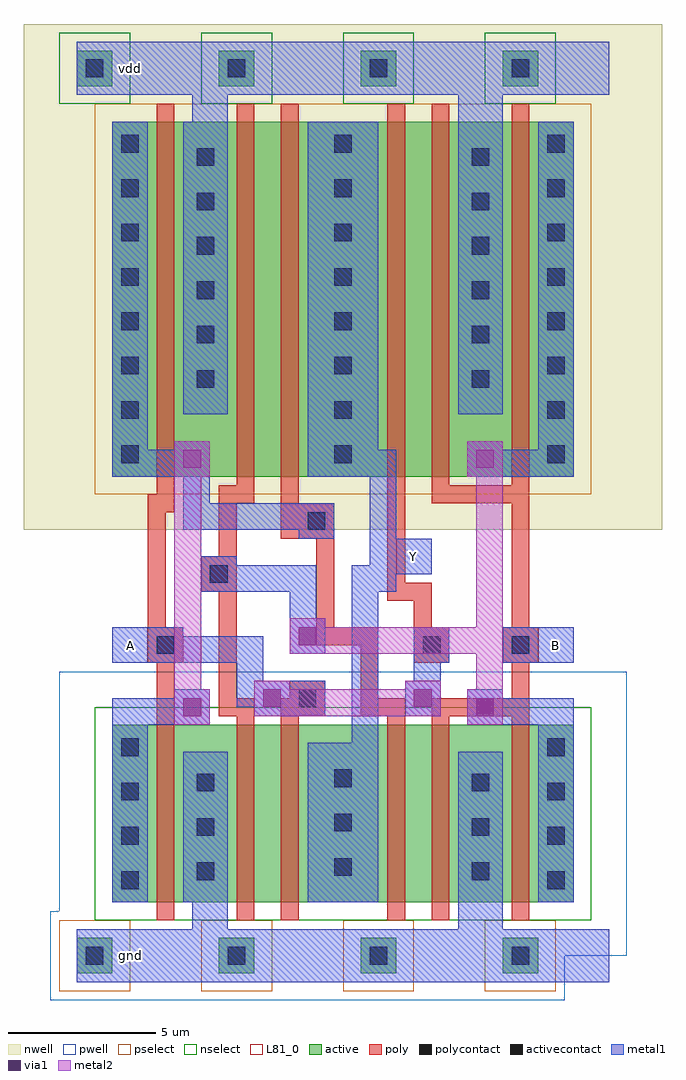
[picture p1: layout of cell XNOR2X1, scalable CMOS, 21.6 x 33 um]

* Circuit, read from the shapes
.subckt XNOR2X1 A B Y gnd vdd
M1 gnd A n1 gnd nfet w=6u l=0.6u
M2 n2 n3 gnd gnd nfet w=6u l=0.6u
M3 Y A n2 gnd nfet w=6u l=0.6u
M4 n4 n1 Y gnd nfet w=6u l=0.6u
M5 gnd B n4 gnd nfet w=6u l=0.6u
M6 n3 B gnd gnd nfet w=6u l=0.6u
M7 vdd A n1 vdd pfet w=12u l=0.6u
M8 n5 n3 vdd vdd pfet w=12u l=0.6u
M9 Y n1 n5 vdd pfet w=12u l=0.6u
M10 n6 A Y vdd pfet w=12u l=0.6u
M11 vdd B n6 vdd pfet w=12u l=0.6u
M12 n3 B vdd vdd pfet w=12u l=0.6u
.ends

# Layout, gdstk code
import gdstk
lib = gdstk.Library(unit=1e-6, precision=1e-09)
def R(c, l, rs):  # rectangles x0, y0, x1, y1
    for r in rs: c.add(gdstk.rectangle(r[:2], r[2:], *l))
def A(c, l, x, y, w, h, nx, ny, dx, dy):  # array of equal rectangles
    R(c, l, [(x+i*dx, y+j*dy, x+i*dx+w, y+j*dy+h) for i in range(nx) for j in range(ny)])
pwell = (41, 0)
nwell = (42, 0)
active = (43, 0)
pselect = (44, 0)
nselect = (45, 0)
poly = (46, 0)
polycontact = (47, 0)
activecontact = (48, 0)
metal1 = (49, 0)
via1 = (50, 0)
metal2 = (51, 0)
L81_0 = (81, 0)

xnor2x1 = lib.new_cell('XNOR2X1')
R(xnor2x1, pwell, [(-1.5,-1.5,15.9,0), (-1.5,0,18,1.5), (-1.2,1.5,18,9.6)])
R(xnor2x1, nwell, [(-2.4,14.4,19.2,31.5)])
A(xnor2x1, active, -0.6, -0.6, 1.2, 1.2, 4, 2, 4.8, 30)
R(xnor2x1, active, [(0.6,1.8,16.2,7.8), (0.6,16.2,16.2,28.2)])
A(xnor2x1, pselect, -1.2, -1.2, 2.4, 2.4, 4, 1, 4.8, 0)
R(xnor2x1, pselect, [(0,15.6,16.8,28.8)])
A(xnor2x1, nselect, -1.2, 28.8, 2.4, 2.4, 4, 1, 4.8, 0)
R(xnor2x1, nselect, [(0,1.2,16.8,8.4)])
R(xnor2x1, poly, [(2.1,1.2,2.7,9.9), (4.8,1.2,5.4,8.1), (6.3,1.2,6.9,8.1), (9.9,1.2,10.5,8.1), (11.4,1.2,12,8.1), (14.1,1.2,14.7,8.1), (4.2,8.1,5.4,8.7), (6.3,8.1,7.8,8.7), (9,8.1,10.5,8.7), (11.4,8.1,14.7,8.7), (4.2,8.7,4.8,12.3), (6.6,8.7,7.8,9.3), (9,8.7,9.6,10.5), (14.1,8.7,14.7,9.9), (1.8,9.9,3,11.1), (10.8,9.9,12,11.1), (13.8,9.9,15,11.1), (7.5,10.5,9.6,11.1), (1.8,11.1,2.4,15), (7.5,11.1,8.1,14.1), (10.8,11.1,11.4,12), (14.1,11.1,14.7,15.3), (9.9,12,11.4,12.6), (3.6,12.3,4.8,13.5), (9.9,12.6,10.5,28.8), (4.2,13.5,4.8,15.3), (6.3,14.1,8.1,15.3), (1.8,15,2.7,15.6), (4.2,15.3,5.4,15.9), (6.3,15.3,6.9,28.8), (11.4,15.3,14.7,15.9), (2.1,15.6,2.7,28.8), (4.8,15.9,5.4,28.8), (11.4,15.9,12,28.8), (14.1,15.9,14.7,28.8)])
R(xnor2x1, polycontact, [(6.9,8.4,7.5,9), (2.1,10.2,2.7,10.8), (11.1,10.2,11.7,10.8), (14.1,10.2,14.7,10.8), (3.9,12.6,4.5,13.2), (7.2,14.4,7.8,15)])
A(xnor2x1, activecontact, -0.3, -0.3, 0.6, 0.6, 4, 2, 4.8, 30)
A(xnor2x1, activecontact, 0.9, 2.25, 0.6, 0.6, 1, 4, 0, 1.5)
A(xnor2x1, activecontact, 15.3, 2.25, 0.6, 0.6, 1, 4, 0, 1.5)
A(xnor2x1, activecontact, 3.45, 2.55, 0.6, 0.6, 1, 3, 0, 1.5)
A(xnor2x1, activecontact, 12.75, 2.55, 0.6, 0.6, 1, 3, 0, 1.5)
A(xnor2x1, activecontact, 8.1, 2.7, 0.6, 0.6, 1, 3, 0, 1.5)
A(xnor2x1, activecontact, 0.9, 16.65, 0.6, 0.6, 3, 8, 7.2, 1.5)
A(xnor2x1, activecontact, 3.45, 19.2, 0.6, 0.6, 1, 6, 0, 1.5)
A(xnor2x1, activecontact, 12.75, 19.2, 0.6, 0.6, 1, 6, 0, 1.5)
R(xnor2x1, metal1, [(-0.6,-0.9,17.4,0.9), (3.3,0.9,4.5,1.8), (12.3,0.9,13.8,6.9), (0.6,1.8,1.8,7.8), (3,1.8,4.5,6.9), (7.2,1.8,9.6,7.2), (15,1.8,16.2,7.8), (8.7,7.2,9.6,12.3), (0.6,7.8,3.9,8.7), (12.6,7.8,16.2,8.7), (5.4,8.1,7.8,8.4), (10.5,8.1,11.7,9.3), (4.8,8.4,7.8,9.3), (2.7,8.7,3.9,9), (12.6,8.7,13.8,9), (4.8,9.3,5.7,9.9), (10.8,9.3,11.7,9.9), (0.6,9.9,5.7,10.8), (10.8,9.9,12,11.1), (13.8,9.9,16.2,11.1), (6.6,10.2,7.8,11.4), (0.6,10.8,3,11.1), (6.6,11.4,7.5,12.3), (3.6,12.3,7.5,13.2), (8.7,12.3,10.2,12.9), (8.7,12.9,11.4,13.2), (3.6,13.2,4.8,13.5), (9.3,13.2,11.4,14.1), (6.9,14.1,8.1,14.4), (9.3,14.1,10.2,16.2), (3,14.4,8.1,15.3), (3,15.3,3.9,16.2), (0.6,16.2,3.9,17.1), (7.2,16.2,10.2,17.1), (12.6,16.2,16.2,17.1), (0.6,17.1,1.8,28.2), (2.7,17.1,3.9,17.4), (7.2,17.1,9.6,28.2), (12.6,17.1,13.8,17.4), (15,17.1,16.2,28.2), (3,18.3,4.5,28.2), (12.3,18.3,13.8,29.1), (3.3,28.2,4.5,29.1), (-0.6,29.1,17.4,30.9)])
R(xnor2x1, via1, [(3,8.1,3.6,8.7), (12.9,8.1,13.5,8.7), (5.7,8.4,6.3,9), (10.8,8.4,11.4,9), (6.9,10.5,7.5,11.1), (3,16.5,3.6,17.1), (12.9,16.5,13.5,17.1)])
R(xnor2x1, metal2, [(2.7,7.8,3.9,9), (12.6,7.8,13.8,9), (5.4,8.1,11.7,9), (2.7,9,3.6,16.2), (5.4,9,6.6,9.3), (10.5,9,11.7,9.3), (12.9,9,13.8,10.2), (6.6,10.2,13.8,11.1), (6.6,11.1,7.8,11.4), (12.9,11.1,13.8,16.2), (2.7,16.2,3.9,17.4), (12.6,16.2,13.8,17.4)])
R(xnor2x1, L81_0, [(0.6,9.9,1.8,11.1), (15,9.9,16.2,11.1), (10.2,12.9,11.4,14.1)])
xnor2x1.add(gdstk.Label('A', (1.2,10.5), layer=49, texttype=0))
xnor2x1.add(gdstk.Label('B', (15.6,10.5), layer=49, texttype=0))
xnor2x1.add(gdstk.Label('gnd', (1.2,0), layer=49, texttype=0))
xnor2x1.add(gdstk.Label('vdd', (1.2,30), layer=49, texttype=0))
xnor2x1.add(gdstk.Label('Y', (10.8,13.5), layer=49, texttype=0))

lib.write_gds('XNOR2X1.gds')
